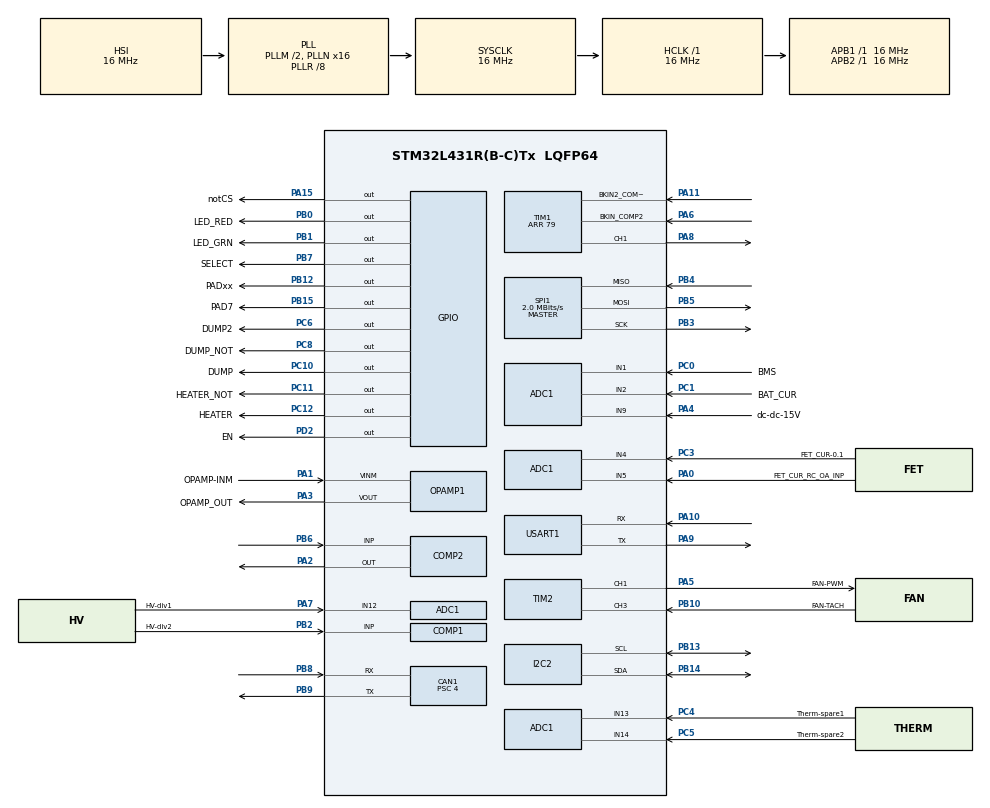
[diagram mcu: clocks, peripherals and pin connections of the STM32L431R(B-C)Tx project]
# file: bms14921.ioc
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ADC1.Channel-0\#ChannelRegularConversion=ADC_CHANNEL_VREFINT
ADC1.Channel-1\#ChannelRegularConversion=ADC_CHANNEL_TEMPSENSOR
ADC1.Channel-10\#ChannelRegularConversion=ADC_CHANNEL_8
ADC1.Channel-11\#ChannelRegularConversion=ADC_CHANNEL_1
ADC1.Channel-2\#ChannelRegularConversion=ADC_CHANNEL_9
ADC1.Channel-3\#ChannelRegularConversion=ADC_CHANNEL_12
ADC1.Channel-4\#ChannelRegularConversion=ADC_CHANNEL_2
ADC1.Channel-5\#ChannelRegularConversion=ADC_CHANNEL_13
ADC1.Channel-6\#ChannelRegularConversion=ADC_CHANNEL_14
ADC1.Channel-7\#ChannelRegularConversion=ADC_CHANNEL_4
ADC1.Channel-8\#ChannelRegularConversion=ADC_CHANNEL_5
ADC1.ContinuousConvMode=DISABLE
ADC1.DMAContinuousRequests=DISABLE
ADC1.EOCSelection=ADC_EOC_SEQ_CONV
ADC1.EnableInjectedConversion=DISABLE
ADC1.NbrOfConversion=11
ADC1.NbrOfConversionFlag=1
ADC1.OffsetNumber-0\#ChannelRegularConversion=ADC_OFFSET_NONE
ADC1.OffsetNumber-1\#ChannelRegularConversion=ADC_OFFSET_NONE
ADC1.OffsetNumber-10\#ChannelRegularConversion=ADC_OFFSET_NONE
ADC1.OffsetNumber-11\#ChannelRegularConversion=ADC_OFFSET_NONE
ADC1.OffsetNumber-2\#ChannelRegularConversion=ADC_OFFSET_NONE
ADC1.OffsetNumber-3\#ChannelRegularConversion=ADC_OFFSET_NONE
ADC1.OffsetNumber-4\#ChannelRegularConversion=ADC_OFFSET_NONE
ADC1.OffsetNumber-5\#ChannelRegularConversion=ADC_OFFSET_NONE
ADC1.OffsetNumber-6\#ChannelRegularConversion=ADC_OFFSET_NONE
ADC1.OffsetNumber-7\#ChannelRegularConversion=ADC_OFFSET_NONE
ADC1.OffsetNumber-8\#ChannelRegularConversion=ADC_OFFSET_NONE
ADC1.OversamplingMode=ENABLE
ADC1.Rank-0\#ChannelRegularConversion=1
ADC1.Rank-1\#ChannelRegularConversion=2
ADC1.Rank-10\#ChannelRegularConversion=10
ADC1.Rank-11\#ChannelRegularConversion=11
ADC1.Rank-2\#ChannelRegularConversion=3
ADC1.Rank-3\#ChannelRegularConversion=4
ADC1.Rank-4\#ChannelRegularConversion=5
ADC1.Rank-5\#ChannelRegularConversion=6
ADC1.Rank-6\#ChannelRegularConversion=7
ADC1.Rank-7\#ChannelRegularConversion=8
ADC1.Rank-8\#ChannelRegularConversion=9
ADC1.Ratio=ADC_OVERSAMPLING_RATIO_16
ADC1.SamplingTime-0\#ChannelRegularConversion=ADC_SAMPLETIME_247CYCLES_5
ADC1.SamplingTime-1\#ChannelRegularConversion=ADC_SAMPLETIME_247CYCLES_5
ADC1.SamplingTime-10\#ChannelRegularConversion=ADC_SAMPLETIME_24CYCLES_5
ADC1.SamplingTime-11\#ChannelRegularConversion=ADC_SAMPLETIME_24CYCLES_5
ADC1.SamplingTime-2\#ChannelRegularConversion=ADC_SAMPLETIME_247CYCLES_5
ADC1.SamplingTime-3\#ChannelRegularConversion=ADC_SAMPLETIME_640CYCLES_5
ADC1.SamplingTime-4\#ChannelRegularConversion=ADC_SAMPLETIME_47CYCLES_5
ADC1.SamplingTime-5\#ChannelRegularConversion=ADC_SAMPLETIME_247CYCLES_5
ADC1.SamplingTime-6\#ChannelRegularConversion=ADC_SAMPLETIME_247CYCLES_5
ADC1.SamplingTime-7\#ChannelRegularConversion=ADC_SAMPLETIME_2CYCLES_5
ADC1.SamplingTime-8\#ChannelRegularConversion=ADC_SAMPLETIME_24CYCLES_5
ADC1.master=1
CAN1.ABOM=ENABLE
CAN1.BS1=CAN_BS1_5TQ
CAN1.BS2=CAN_BS2_2TQ
CAN1.CalculateBaudRate=500000
CAN1.CalculateTimeBit=2000.00
CAN1.CalculateTimeQuantum=250.0
CAN1.Prescaler=4
COMP1.BlankingSrce=COMP_BLANKINGSRC_NONE
COMP2.BlankingSrce=COMP_BLANKINGSRC_NONE
DAC1.DAC_Channel-DAC_OUT2_Int=DAC_CHANNEL_2
Dma.ADC1.2.Direction=DMA_PERIPH_TO_MEMORY
Dma.ADC1.2.Instance=DMA1_Channel1
Dma.ADC1.2.MemDataAlignment=DMA_MDATAALIGN_HALFWORD
Dma.ADC1.2.MemInc=DMA_MINC_ENABLE
Dma.ADC1.2.Mode=DMA_NORMAL
Dma.ADC1.2.PeriphDataAlignment=DMA_PDATAALIGN_HALFWORD
Dma.ADC1.2.PeriphInc=DMA_PINC_DISABLE
Dma.ADC1.2.Priority=DMA_PRIORITY_LOW
Dma.I2C2_RX.3.Direction=DMA_PERIPH_TO_MEMORY
Dma.I2C2_RX.3.Instance=DMA1_Channel5
Dma.I2C2_RX.3.MemDataAlignment=DMA_MDATAALIGN_BYTE
Dma.I2C2_RX.3.MemInc=DMA_MINC_ENABLE
Dma.I2C2_RX.3.Mode=DMA_NORMAL
Dma.I2C2_RX.3.PeriphDataAlignment=DMA_PDATAALIGN_BYTE
Dma.I2C2_RX.3.PeriphInc=DMA_PINC_DISABLE
Dma.I2C2_RX.3.Priority=DMA_PRIORITY_LOW
Dma.I2C2_TX.4.Direction=DMA_MEMORY_TO_PERIPH
Dma.I2C2_TX.4.Instance=DMA1_Channel4
Dma.I2C2_TX.4.MemDataAlignment=DMA_MDATAALIGN_BYTE
Dma.I2C2_TX.4.MemInc=DMA_MINC_ENABLE
Dma.I2C2_TX.4.Mode=DMA_NORMAL
Dma.I2C2_TX.4.PeriphDataAlignment=DMA_PDATAALIGN_BYTE
Dma.I2C2_TX.4.PeriphInc=DMA_PINC_DISABLE
Dma.I2C2_TX.4.Priority=DMA_PRIORITY_LOW
Dma.Request0=USART1_RX
Dma.Request1=USART1_TX
Dma.Request2=ADC1
Dma.Request3=I2C2_RX
Dma.Request4=I2C2_TX
Dma.Request5=SPI1_RX
Dma.Request6=SPI1_TX
Dma.SPI1_RX.5.Direction=DMA_PERIPH_TO_MEMORY
Dma.SPI1_RX.5.Instance=DMA1_Channel2
Dma.SPI1_RX.5.MemDataAlignment=DMA_MDATAALIGN_BYTE
Dma.SPI1_RX.5.MemInc=DMA_MINC_ENABLE
Dma.SPI1_RX.5.Mode=DMA_NORMAL
Dma.SPI1_RX.5.PeriphDataAlignment=DMA_PDATAALIGN_BYTE
Dma.SPI1_RX.5.PeriphInc=DMA_PINC_DISABLE
Dma.SPI1_RX.5.Priority=DMA_PRIORITY_LOW
Dma.SPI1_TX.6.Direction=DMA_MEMORY_TO_PERIPH
Dma.SPI1_TX.6.Instance=DMA1_Channel3
Dma.SPI1_TX.6.MemDataAlignment=DMA_MDATAALIGN_BYTE
Dma.SPI1_TX.6.MemInc=DMA_MINC_ENABLE
Dma.SPI1_TX.6.Mode=DMA_NORMAL
Dma.SPI1_TX.6.PeriphDataAlignment=DMA_PDATAALIGN_BYTE
Dma.SPI1_TX.6.PeriphInc=DMA_PINC_DISABLE
Dma.SPI1_TX.6.Priority=DMA_PRIORITY_LOW
Dma.USART1_RX.0.Direction=DMA_PERIPH_TO_MEMORY
Dma.USART1_RX.0.Instance=DMA2_Channel7
Dma.USART1_RX.0.MemDataAlignment=DMA_MDATAALIGN_BYTE
Dma.USART1_RX.0.MemInc=DMA_MINC_ENABLE
Dma.USART1_RX.0.Mode=DMA_CIRCULAR
Dma.USART1_RX.0.PeriphDataAlignment=DMA_PDATAALIGN_BYTE
Dma.USART1_RX.0.PeriphInc=DMA_PINC_DISABLE
Dma.USART1_RX.0.Priority=DMA_PRIORITY_LOW
Dma.USART1_TX.1.Direction=DMA_MEMORY_TO_PERIPH
Dma.USART1_TX.1.Instance=DMA2_Channel6
Dma.USART1_TX.1.MemDataAlignment=DMA_MDATAALIGN_BYTE
Dma.USART1_TX.1.MemInc=DMA_MINC_ENABLE
Dma.USART1_TX.1.Mode=DMA_NORMAL
Dma.USART1_TX.1.PeriphDataAlignment=DMA_PDATAALIGN_BYTE
Dma.USART1_TX.1.PeriphInc=DMA_PINC_DISABLE
Dma.USART1_TX.1.Priority=DMA_PRIORITY_LOW
FREERTOS.Tasks01=defaultTask,24,448,StartDefaultTask,Default,NULL,Dynamic,NULL,NULL
FREERTOS.configTOTAL_HEAP_SIZE=12288
I2C2.Timing=0x00303D5B
Mcu.Family=STM32L4
Mcu.Name=STM32L431R(B-C)Tx
Mcu.Package=LQFP64
NVIC.ADC1_IRQn=true\:5\:0\:false\:false\:true\:true\:true\:true
NVIC.CAN1_RX0_IRQn=true\:6\:0\:true\:false\:true\:true\:true\:true
NVIC.CAN1_RX1_IRQn=true\:6\:0\:true\:false\:true\:true\:true\:true
NVIC.CAN1_TX_IRQn=true\:6\:0\:true\:false\:true\:true\:true\:true
NVIC.DMA1_Channel1_IRQn=true\:6\:0\:true\:false\:true\:true\:false\:true
NVIC.DMA1_Channel2_IRQn=true\:6\:0\:true\:false\:true\:true\:false\:true
NVIC.DMA1_Channel3_IRQn=true\:6\:0\:true\:false\:true\:true\:false\:true
NVIC.DMA1_Channel4_IRQn=true\:7\:0\:true\:false\:true\:true\:false\:true
NVIC.DMA1_Channel5_IRQn=true\:7\:0\:true\:false\:true\:true\:false\:true
NVIC.DMA2_Channel6_IRQn=true\:6\:0\:true\:false\:true\:false\:false\:true
NVIC.DMA2_Channel7_IRQn=true\:6\:0\:true\:false\:true\:false\:false\:true
NVIC.PriorityGroup=NVIC_PRIORITYGROUP_4
NVIC.TIM1_BRK_TIM15_IRQn=true\:5\:0\:false\:false\:true\:true\:true\:true
NVIC.TIM1_UP_TIM16_IRQn=true\:6\:0\:true\:false\:true\:false\:false\:true
NVIC.TIM2_IRQn=true\:6\:0\:true\:false\:true\:true\:true\:true
NVIC.TIM6_DAC_IRQn=true\:15\:0\:false\:false\:true\:false\:true\:true
NVIC.TimeBase=TIM6_DAC_IRQn
NVIC.TimeBaseIP=TIM6
NVIC.USART1_IRQn=true\:10\:0\:true\:false\:true\:true\:true\:true
OPAMP1.PgaGain=OPAMP_PGA_GAIN_8
OPAMP1.PowerSupplyRange=OPAMP_POWERSUPPLY_HIGH
PA0.GPIO_Label=FET_CUR_RC_OA_INP
PA0.Signal=SharedAnalog_PA0
PA1.GPIO_Label=OPAMP-INM
PA1.Signal=SharedAnalog_PA1
PA10.Mode=Asynchronous
PA10.Signal=USART1_RX
PA11.Mode=ExternalOutput_TIM1BKIN2
PA11.Signal=TIM1_BKIN2_COMP1
PA13\ (JTMS-SWDIO).Mode=Serial_Wire
PA13\ (JTMS-SWDIO).Signal=SYS_JTMS-SWDIO
PA14\ (JTCK-SWCLK).Mode=Serial_Wire
PA14\ (JTCK-SWCLK).Signal=SYS_JTCK-SWCLK
PA15\ (JTDI).GPIO_Label=notCS
PA15\ (JTDI).Signal=GPIO_Output
PA2.Mode=ExternalOutput
PA2.Signal=COMP2_OUT
PA3.GPIO_Label=OPAMP_OUT
PA3.Signal=SharedAnalog_PA3
PA4.GPIO_Label=dc-dc-15V
PA4.Signal=SharedAnalog_PA4
PA5.GPIO_Label=FAN-PWM
PA5.Signal=S_TIM2_CH1
PA6.Mode=ExternalOutput_TIM1BKIN
PA6.Signal=TIM1_BKIN_COMP2
PA7.GPIO_Label=HV-div1
PA7.Signal=SharedAnalog_PA7
PA8.Signal=S_TIM1_CH1
PA9.Mode=Asynchronous
PA9.Signal=USART1_TX
PB0.GPIO_Label=LED_RED
PB0.PinState=GPIO_PIN_SET
PB0.Signal=GPIO_Output
PB1.GPIO_Label=LED_GRN
PB1.PinState=GPIO_PIN_SET
PB1.Signal=GPIO_Output
PB10.GPIO_Label=FAN-TACH
PB10.GPIO_PuPd=GPIO_PULLUP
PB10.Signal=S_TIM2_CH3
PB12.GPIO_Label=PADxx
PB12.Signal=GPIO_Output
PB13.GPIO_Pu=GPIO_NOPULL
PB13.GPIO_Speed=GPIO_SPEED_FREQ_LOW
PB13.Mode=I2C
PB13.Signal=I2C2_SCL
PB14.GPIO_Pu=GPIO_NOPULL
PB14.Mode=I2C
PB14.Signal=I2C2_SDA
PB15.GPIO_Label=PAD7
PB15.Signal=GPIO_Output
PB2.GPIO_Label=HV-div2
PB2.Signal=SharedAnalog_PB2
PB3\ (JTDO-TRACESWO).Mode=Full_Duplex_Master
PB3\ (JTDO-TRACESWO).Signal=SPI1_SCK
PB4\ (NJTRST).Mode=Full_Duplex_Master
PB4\ (NJTRST).Signal=SPI1_MISO
PB5.Mode=Full_Duplex_Master
PB5.Signal=SPI1_MOSI
PB6.Mode=INP
PB6.Signal=COMP2_INP
PB7.GPIO_Label=SELECT
PB7.Signal=GPIO_Output
PB8.Mode=CAN_Activate
PB8.Signal=CAN1_RX
PB9.Mode=CAN_Activate
PB9.Signal=CAN1_TX
PC0.GPIO_Label=BMS
PC0.Signal=SharedAnalog_PC0
PC1.GPIO_Label=BAT_CUR
PC1.Signal=SharedAnalog_PC1
PC10.GPIO_Label=DUMP
PC10.Signal=GPIO_Output
PC11.GPIO_Label=HEATER_NOT
PC11.Signal=GPIO_Output
PC12.GPIO_Label=HEATER
PC12.Signal=GPIO_Output
PC3.GPIO_Label=FET_CUR-0.1
PC3.Signal=SharedAnalog_PC3
PC4.GPIO_Label=Therm-spare1
PC4.Signal=SharedAnalog_PC4
PC5.GPIO_Label=Therm-spare2
PC5.Signal=SharedAnalog_PC5
PC6.GPIO_Label=DUMP2
PC6.GPIO_PuPd=GPIO_PULLDOWN
PC6.Signal=GPIO_Output
PC8.GPIO_Label=DUMP_NOT
PC8.Signal=GPIO_Output
PD2.GPIO_Label=EN
PD2.Signal=GPIO_Output
ProjectManager.HeapSize=0x200
ProjectManager.StackSize=0x400
ProjectManager.TargetToolchain=Makefile
RCC.ADCFreq_Value=52000000
RCC.AHBFreq_Value=16000000
RCC.APB1Freq_Value=16000000
RCC.APB1TimFreq_Value=16000000
RCC.APB2Freq_Value=16000000
RCC.APB2TimFreq_Value=16000000
RCC.CortexFreq_Value=16000000
RCC.HCLKFreq_Value=16000000
RCC.HSE_VALUE=8000000
RCC.HSI48_VALUE=48000000
RCC.HSI_VALUE=16000000
RCC.I2C1CLockSelection=RCC_I2C1CLKSOURCE_SYSCLK
RCC.LSE_VALUE=32768
RCC.MSIClockRange=RCC_MSIRANGE_7
RCC.MSI_VALUE=8000000
RCC.PLLM=2
RCC.PLLN=16
RCC.PLLR=RCC_PLLR_DIV8
RCC.PLLSAI1N=13
RCC.PLLSourceVirtual=RCC_PLLSOURCE_HSI
RCC.SYSCLKFreq_VALUE=16000000
RCC.SYSCLKSource=RCC_SYSCLKSOURCE_PLLCLK
RCC.USART1CLockSelection=RCC_USART1CLKSOURCE_HSI
RCC.VCOOutputFreq_Value=128000000
SH.S_TIM1_CH1.0=TIM1_CH1,PWM Generation1 CH1
SH.S_TIM2_CH1.0=TIM2_CH1,PWM Generation1 CH1
SH.S_TIM2_CH3.0=TIM2_CH3,Input_Capture3_from_TI3
SH.SharedAnalog_PA0.0=GPIO_Analog
SH.SharedAnalog_PA0.1=ADC1_IN5,IN5-Single-Ended
SH.SharedAnalog_PA0.2=OPAMP1_VINP,PGA Connected
SH.SharedAnalog_PA1.0=GPIO_Analog
SH.SharedAnalog_PA1.1=OPAMP1_VINM,PGA Connected
SH.SharedAnalog_PA3.0=GPIO_Analog
SH.SharedAnalog_PA3.1=OPAMP1_VOUT,PGA Connected
SH.SharedAnalog_PA3.2=ADC1_IN8,IN8-Single-Ended
SH.SharedAnalog_PA4.0=GPIO_Analog
SH.SharedAnalog_PA4.1=ADC1_IN9,IN9-Single-Ended
SH.SharedAnalog_PA7.0=GPIO_Analog
SH.SharedAnalog_PA7.1=ADC1_IN12,IN12-Single-Ended
SH.SharedAnalog_PB2.0=GPIO_Analog
SH.SharedAnalog_PB2.1=COMP1_INP,INP
SH.SharedAnalog_PC0.0=GPIO_Analog
SH.SharedAnalog_PC0.1=ADC1_IN1,IN1-Single-Ended
SH.SharedAnalog_PC1.0=GPIO_Analog
SH.SharedAnalog_PC1.1=ADC1_IN2,IN2-Single-Ended
SH.SharedAnalog_PC3.0=GPIO_Analog
SH.SharedAnalog_PC3.1=ADC1_IN4,IN4-Single-Ended
SH.SharedAnalog_PC4.0=GPIO_Analog
SH.SharedAnalog_PC4.1=ADC1_IN13,IN13-Single-Ended
SH.SharedAnalog_PC5.0=GPIO_Analog
SH.SharedAnalog_PC5.1=ADC1_IN14,IN14-Single-Ended
SPI1.BaudRatePrescaler=SPI_BAUDRATEPRESCALER_8
SPI1.CalculateBaudRate=2.0 MBits/s
SPI1.DataSize=SPI_DATASIZE_8BIT
SPI1.Direction=SPI_DIRECTION_2LINES
SPI1.FirstBit=SPI_FIRSTBIT_LSB
SPI1.Mode=SPI_MODE_MASTER
SPI1.NSSPMode=SPI_NSS_PULSE_DISABLE
SPI1.VirtualType=VM_MASTER
TIM1.AutomaticOutput=TIM_AUTOMATICOUTPUT_ENABLE
TIM1.Channel-PWM\ Generation1\ CH1=TIM_CHANNEL_1
TIM1.Period=79
TIM1.SourceBRK2COMP1=TIM_BREAKINPUTSOURCE_ENABLE
TIM1.SourceBRK2COMP2=TIM_BREAKINPUTSOURCE_DISABLE
TIM1.SourceBRKCOMP2=TIM_BREAKINPUTSOURCE_ENABLE
TIM15.Channel-Output\ Compare1\ No\ Output=TIM_CHANNEL_1
TIM2.Channel-Input_Capture3_from_TI3=TIM_CHANNEL_3
TIM2.Channel-PWM\ Generation1\ CH1=TIM_CHANNEL_1
USART1.OverSampling=UART_OVERSAMPLING_8
USART1.VirtualMode-Asynchronous=VM_ASYNC
VP_ADC1_TempSens_Input.Mode=IN-TempSens
VP_ADC1_Vref_Input.Mode=IN-Vrefint
VP_COMP1_VS_DACOUT1.Mode=INM_DACOUT1
VP_COMP2_VS_DACOUT2.Mode=INM_DACOUT2
VP_DAC1_VS_DACI1.Mode=DAC_OUT1_Int
VP_DAC1_VS_DACI2.Mode=DAC_OUT2_Int
VP_FREERTOS_VS_CMSIS_V2.Mode=CMSIS_V2
VP_RTC_VS_RTC_Activate.Mode=RTC_Enabled
VP_RTC_VS_RTC_Calendar.Mode=RTC_Calendar
VP_SYS_VS_tim6.Mode=TIM6
VP_TIM15_VS_ClockSourceINT.Mode=Internal
VP_TIM15_VS_no_output1.Mode=Output Compare1 No Output
VP_TIM1_VS_BKIN2_COMP1.Mode=Activate-Break-Input-2-COMP1
VP_TIM1_VS_BKIN_COMP2.Mode=Activate-Break-Input-COMP2
VP_TIM1_VS_ClockSourceINT.Mode=Internal
VP_TIM2_VS_ClockSourceINT.Mode=Internal
board=custom

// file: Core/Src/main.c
/* USER CODE BEGIN Header */
/**
  ******************************************************************************
  * @file           : main.c
  * @brief          : Main program body
  ******************************************************************************
  * @attention
  *
  * <h2><center>&copy; Copyright (c) 2021 STMicroelectronics.
  * All rights reserved.</center></h2>
  *
  * This software component is licensed by ST under Ultimate Liberty license
  * SLA0044, the "License"; You may not use this file except in compliance with
  * the License. You may obtain a copy of the License at:
  *                             www.st.com/SLA0044
  *
  ******************************************************************************
  */
/* USER CODE END Header */
#include "main.h"
#include "cmsis_os.h"

/* USER CODE BEGIN Includes */
#include <string.h>
#include "morse.h"
#include "DTW_counter.h"
#include "fetonoff.h"

#include "adcparams.h"
#include "SerialTaskSend.h"
#include "SerialTaskReceive.h"
#include "CanTask.h"
#include "can_iface.h"
#include "canfilter_setup.h"
#include "getserialbuf.h"
#include "yprintf.h"
#include "DTW_counter.h"
#include "BQTask.h"
#include "bqview.h"
#include "bqcellbal.h"
#include "ChgrTask.h"
#include "bq_func_init.h"
#include "ADCTask.h"
#include "MailboxTask.h"
#include "CanCommTask.h"
#include "FanTask.h"

#include "FreeRTOS.h"
#include "semphr.h"
/* USER CODE END Includes */

/* USER CODE BEGIN PTD */
uint32_t timectr = 0;
struct CAN_CTLBLOCK* pctl0; // Pointer to CAN1 control block
//struct CAN_CTLBLOCK* pctl1; // Pointer to CAN2 control block

uint32_t adc_smpr1; // Save HAL settings of ADC_SMPR1 ADC register.
uint32_t adc_sqr1;  // Save HAL settings of register.

uint32_t debugTX1b;
uint32_t debugTX1b_prev;

uint32_t debugTX1c;
uint32_t debugTX1c_prev;

uint32_t debug03;
uint32_t debug03_prev;

//extern osThreadId SerialTaskHandle;
//extern osThreadId CanTxTaskHandle;
//extern osThreadId CanRxTaskHandle;
//extern osThreadId SerialTaskReceiveHandle;

uint16_t m_trap = 450; // Trap codes for MX Init() and Error Handler

uint8_t canflag;
uint8_t canflag1;
//uint8_t canflag2;

/* USER CODE END PTD */

/* USER CODE BEGIN PM */
  /*
  Timer usage
                         1    2   3   4   auto  auto
  TIM1 charger control  PWM   x   x   x  comp1 comp2
                        PA8               PA6   PA11
  TIM2 FAN PWM TACH     PWM   x  IC   x
                        PA5     PB10
  TIM7  System          x

  TIM15 SPI/ADC/BMS     OC    x

  */
/* USER CODE END PM */

ADC_HandleTypeDef hadc1;
DMA_HandleTypeDef hdma_adc1;

CAN_HandleTypeDef hcan1;

COMP_HandleTypeDef hcomp1;
COMP_HandleTypeDef hcomp2;

DAC_HandleTypeDef hdac1;

I2C_HandleTypeDef hi2c2;
DMA_HandleTypeDef hdma_i2c2_rx;
DMA_HandleTypeDef hdma_i2c2_tx;

OPAMP_HandleTypeDef hopamp1;

RTC_HandleTypeDef hrtc;

SPI_HandleTypeDef hspi1;
DMA_HandleTypeDef hdma_spi1_rx;
DMA_HandleTypeDef hdma_spi1_tx;

TIM_HandleTypeDef htim1;
TIM_HandleTypeDef htim2;
TIM_HandleTypeDef htim15;

UART_HandleTypeDef huart1;
DMA_HandleTypeDef hdma_usart1_rx;
DMA_HandleTypeDef hdma_usart1_tx;

/* Definitions for defaultTask */
osThreadId_t defaultTaskHandle;
const osThreadAttr_t defaultTask_attributes = {
  .name = "defaultTask",
  .stack_size = 448 * 4,
  .priority = (osPriority_t) osPriorityNormal,
};
/* USER CODE BEGIN PV */
uint16_t errorcode;
/* USER CODE END PV */

void SystemClock_Config(void);
static void MX_GPIO_Init(void);
static void MX_DMA_Init(void);
static void MX_ADC1_Init(void);
static void MX_CAN1_Init(void);
static void MX_RTC_Init(void);
static void MX_TIM2_Init(void);
static void MX_USART1_UART_Init(void);
static void MX_COMP1_Init(void);
static void MX_DAC1_Init(void);
static void MX_TIM1_Init(void);
static void MX_TIM15_Init(void);
static void MX_OPAMP1_Init(void);
static void MX_SPI1_Init(void);
static void MX_I2C2_Init(void);
static void MX_COMP2_Init(void);
void StartDefaultTask(void *argument);

int main(void)
{
  /* USER CODE BEGIN 1 */
  BaseType_t ret;    // Used for returns from function calls
  osThreadId Thrdret;  // Return from thread create
  /* USER CODE END 1 */

  /* MCU Configuration--------------------------------------------------------*/

  /* Reset of all peripherals, Initializes the Flash interface and the Systick. */
  HAL_Init();

  /* USER CODE BEGIN Init */
  DTW_counter_init();
  /* USER CODE END Init */

  /* Configure the system clock */
  SystemClock_Config();

  /* USER CODE BEGIN SysInit */
#define NUMCIRBCB1  16 // Size of circular buffer of BCB for usart3
  ret = xSerialTaskSendAdd(&HUARTMON, NUMCIRBCB1, 1); // dma
  if (ret < 0) morse_trap(111); // Panic LED flashing
  /* USER CODE END SysInit */

  /* Initialize all configured peripherals */
  MX_GPIO_Init();
  MX_DMA_Init();
  MX_ADC1_Init();
  MX_CAN1_Init();
  MX_RTC_Init();
  MX_TIM2_Init();
  MX_USART1_UART_Init();
  MX_COMP1_Init();
  MX_DAC1_Init();
  MX_TIM1_Init();
  MX_TIM15_Init();
  MX_OPAMP1_Init();
  MX_SPI1_Init();
  MX_I2C2_Init();
  MX_COMP2_Init();

  /* Init scheduler */
  osKernelInitialize();

  /* USER CODE BEGIN RTOS_SEMAPHORES */
  /* add semaphores, ... */
  /* Setup semaphore for yprint and sprintf et al. */
  yprintf_init();
  /* USER CODE END RTOS_SEMAPHORES */

  /* Create the thread(s) */
  /* creation of defaultTask */
  defaultTaskHandle = osThreadNew(StartDefaultTask, NULL, &defaultTask_attributes);

  /* USER CODE BEGIN RTOS_THREADS */
  /* add threads, ... */

  Thrdret = xADCTaskCreate(osPriorityNormal+2); // (arg) = priority
  if (Thrdret == NULL) morse_trap(117);
  // Save HAL initialized settings ADC registers.
  // Used in adcbms.c for BMS readout sequence swapping
  adc_smpr1 = hadc1.Instance->SMPR1;
  adc_sqr1  = hadc1.Instance->SQR1;

  /* Create serial task (priority) */
  // Task handle "osThreadId SerialTaskHandle" is global
  Thrdret = xSerialTaskSendCreate(osPriorityNormal); // Create task and set Task priority
  if (Thrdret == NULL) morse_trap(112);

    /* Add bcb circular buffer to SerialTaskSend for usart3 -- PC monitor */
  #define NUMCIRBCB3  16 // Size of circular buffer of BCB for usart3
  ret = xSerialTaskSendAdd(&HUARTMON, NUMCIRBCB3, 1); // dma
  if (ret < 0) morse_trap(14); // Panic LED flashing

  /* Setup TX linked list for CAN  */
   // CAN1 (CAN_HandleTypeDef *phcan, uint8_t canidx, uint16_t numtx, uint16_t numrx);
  pctl0 = can_iface_init(&hcan1, 0, 64, 32);
  if (pctl0 == NULL) morse_trap(118); // Panic LED flashing
  if (pctl0->ret < 0) morse_trap(119);

  /* Create serial receiving task. */
  //ret = xSerialTaskReceiveCreate(osPriorityNormal);
  //if (ret != pdPASS) morse_trap(113);

  /* BQTask. */
  TaskHandle_t retT = xBQTaskCreate(osPriorityNormal);
  if (retT == NULL) morse_trap(114);

  /* USER CODE END RTOS_THREADS */

  /* USER CODE BEGIN RTOS_EVENTS */
  /* add events, ... */
  // Initialize struct for BQ. */
  bq_func_init(&bqfunction);

  /* definition and creation of CanTxTask - CAN driver TX interface. */
  QueueHandle_t QHret = xCanTxTaskCreate(osPriorityNormal, 48); // CanTask priority, Number of msgs in queue
  if (QHret == NULL) morse_trap(120); // Panic LED flashing

  /* definition and creation of CanRxTask - CAN driver RX interface. */
  /* The MailboxTask takes care of the CANRx                         */
//  Qidret = xCanRxTaskCreate(1, 32); // CanTask priority, Number of msgs in queue
//  if (Qidret < 0) morse_trap(6); // Panic LED flashing

  /* Create MailboxTask */
  xMailboxTaskCreate(osPriorityNormal); // (arg) = priority

  /* Create Mailbox control block w 'take' pointer for each CAN module. */
  struct MAILBOXCANNUM* pmbxret;
  // (CAN1 control block pointer, size of circular buffer)
  pmbxret = MailboxTask_add_CANlist(pctl0, 32);
  if (pmbxret == NULL) morse_trap(215);

  /* Setup CAN hardware filters to default to accept all ids. */
  HAL_StatusTypeDef Cret;
  Cret = canfilter_setup_first(0, &hcan1, 15); // CAN1
  if (Cret == HAL_ERROR) morse_trap(122);

  /* CAN communication */
  retT = xCanCommCreate(osPriorityNormal+1);
  if (retT == NULL) morse_trap(121);

    /* Select interrupts for CAN1 */
  HAL_CAN_ActivateNotification(&hcan1, \
    CAN_IT_TX_MAILBOX_EMPTY     |  \
    CAN_IT_RX_FIFO0_MSG_PENDING |  \
    CAN_IT_RX_FIFO1_MSG_PENDING    );

  /* Fan control task. */
  retT = xFanTaskCreate(osPriorityNormal);
  if (retT == NULL) morse_trap(124);

  /* USER CODE END RTOS_EVENTS */

  /* Start scheduler */
  osKernelStart();

  /* We should never get here as control is now taken by the scheduler */
  /* Infinite loop */
  while (1)
  {

  }
}

void SystemClock_Config(void)
{
  RCC_OscInitTypeDef RCC_OscInitStruct = {0};
  RCC_ClkInitTypeDef RCC_ClkInitStruct = {0};

  /** Configure the main internal regulator output voltage
  */
  if (HAL_PWREx_ControlVoltageScaling(PWR_REGULATOR_VOLTAGE_SCALE1) != HAL_OK)
  {
    Error_Handler();
  }
  /** Initializes the RCC Oscillators according to the specified parameters
  * in the RCC_OscInitTypeDef structure.
  */
  RCC_OscInitStruct.OscillatorType = RCC_OSCILLATORTYPE_HSI|RCC_OSCILLATORTYPE_LSI;
  RCC_OscInitStruct.HSIState = RCC_HSI_ON;
  RCC_OscInitStruct.HSICalibrationValue = RCC_HSICALIBRATION_DEFAULT;
  RCC_OscInitStruct.LSIState = RCC_LSI_ON;
  RCC_OscInitStruct.PLL.PLLState = RCC_PLL_ON;
  RCC_OscInitStruct.PLL.PLLSource = RCC_PLLSOURCE_HSI;
  RCC_OscInitStruct.PLL.PLLM = 2;
  RCC_OscInitStruct.PLL.PLLN = 16;
  RCC_OscInitStruct.PLL.PLLP = RCC_PLLP_DIV7;
  RCC_OscInitStruct.PLL.PLLQ = RCC_PLLQ_DIV2;
  RCC_OscInitStruct.PLL.PLLR = RCC_PLLR_DIV8;
  if (HAL_RCC_OscConfig(&RCC_OscInitStruct) != HAL_OK)
  {
    Error_Handler();
  }
  /** Initializes the CPU, AHB and APB buses clocks
  */
  RCC_ClkInitStruct.ClockType = RCC_CLOCKTYPE_HCLK|RCC_CLOCKTYPE_SYSCLK
                              |RCC_CLOCKTYPE_PCLK1|RCC_CLOCKTYPE_PCLK2;
  RCC_ClkInitStruct.SYSCLKSource = RCC_SYSCLKSOURCE_PLLCLK;
  RCC_ClkInitStruct.AHBCLKDivider = RCC_SYSCLK_DIV1;
  RCC_ClkInitStruct.APB1CLKDivider = RCC_HCLK_DIV1;
  RCC_ClkInitStruct.APB2CLKDivider = RCC_HCLK_DIV1;

  if (HAL_RCC_ClockConfig(&RCC_ClkInitStruct, FLASH_LATENCY_0) != HAL_OK)
  {
    Error_Handler();
  }
}

static void MX_ADC1_Init(void)
{

  ADC_ChannelConfTypeDef sConfig = {0};

  /** Common config
  */
  hadc1.Instance = ADC1;
  hadc1.Init.ClockPrescaler = ADC_CLOCK_ASYNC_DIV1;
  hadc1.Init.Resolution = ADC_RESOLUTION_12B;
  hadc1.Init.DataAlign = ADC_DATAALIGN_RIGHT;
  hadc1.Init.ScanConvMode = ADC_SCAN_ENABLE;
  hadc1.Init.EOCSelection = ADC_EOC_SEQ_CONV;
  hadc1.Init.LowPowerAutoWait = DISABLE;
  hadc1.Init.ContinuousConvMode = DISABLE;
  hadc1.Init.NbrOfConversion = 11;
  hadc1.Init.DiscontinuousConvMode = DISABLE;
  hadc1.Init.ExternalTrigConv = ADC_SOFTWARE_START;
  hadc1.Init.ExternalTrigConvEdge = ADC_EXTERNALTRIGCONVEDGE_NONE;
  hadc1.Init.DMAContinuousRequests = DISABLE;
  hadc1.Init.Overrun = ADC_OVR_DATA_PRESERVED;
  hadc1.Init.OversamplingMode = ENABLE;
  hadc1.Init.Oversampling.Ratio = ADC_OVERSAMPLING_RATIO_16;
  hadc1.Init.Oversampling.RightBitShift = ADC_RIGHTBITSHIFT_NONE;
  hadc1.Init.Oversampling.TriggeredMode = ADC_TRIGGEREDMODE_SINGLE_TRIGGER;
  hadc1.Init.Oversampling.OversamplingStopReset = ADC_REGOVERSAMPLING_CONTINUED_MODE;
  if (HAL_ADC_Init(&hadc1) != HAL_OK)
  {
    Error_Handler();
  }
  /** Configure Regular Channel
  */
  sConfig.Channel = ADC_CHANNEL_VREFINT;
  sConfig.Rank = ADC_REGULAR_RANK_1;
  sConfig.SamplingTime = ADC_SAMPLETIME_247CYCLES_5;
  sConfig.SingleDiff = ADC_SINGLE_ENDED;
  sConfig.OffsetNumber = ADC_OFFSET_NONE;
  sConfig.Offset = 0;
  if (HAL_ADC_ConfigChannel(&hadc1, &sConfig) != HAL_OK)
  {
    Error_Handler();
  }
  /** Configure Regular Channel
  */
  sConfig.Channel = ADC_CHANNEL_TEMPSENSOR;
  sConfig.Rank = ADC_REGULAR_RANK_2;
  if (HAL_ADC_ConfigChannel(&hadc1, &sConfig) != HAL_OK)
  {
    Error_Handler();
  }
  /** Configure Regular Channel
  */
  sConfig.Channel = ADC_CHANNEL_9;
  sConfig.Rank = ADC_REGULAR_RANK_3;
  if (HAL_ADC_ConfigChannel(&hadc1, &sConfig) != HAL_OK)
  {
    Error_Handler();
  }
  /** Configure Regular Channel
  */
  sConfig.Channel = ADC_CHANNEL_12;
  sConfig.Rank = ADC_REGULAR_RANK_4;
  sConfig.SamplingTime = ADC_SAMPLETIME_640CYCLES_5;
  if (HAL_ADC_ConfigChannel(&hadc1, &sConfig) != HAL_OK)
  {
    Error_Handler();
  }
  /** Configure Regular Channel
  */
  sConfig.Channel = ADC_CHANNEL_2;
  sConfig.Rank = ADC_REGULAR_RANK_5;
  sConfig.SamplingTime = ADC_SAMPLETIME_47CYCLES_5;
  if (HAL_ADC_ConfigChannel(&hadc1, &sConfig) != HAL_OK)
  {
    Error_Handler();
  }
  /** Configure Regular Channel
  */
  sConfig.Channel = ADC_CHANNEL_13;
  sConfig.Rank = ADC_REGULAR_RANK_6;
  sConfig.SamplingTime = ADC_SAMPLETIME_247CYCLES_5;
  if (HAL_ADC_ConfigChannel(&hadc1, &sConfig) != HAL_OK)
  {
    Error_Handler();
  }
  /** Configure Regular Channel
  */
  sConfig.Channel = ADC_CHANNEL_14;
  sConfig.Rank = ADC_REGULAR_RANK_7;
  if (HAL_ADC_ConfigChannel(&hadc1, &sConfig) != HAL_OK)
  {
    Error_Handler();
  }
  /** Configure Regular Channel
  */
  sConfig.Channel = ADC_CHANNEL_4;
  sConfig.Rank = ADC_REGULAR_RANK_8;
  sConfig.SamplingTime = ADC_SAMPLETIME_2CYCLES_5;
  if (HAL_ADC_ConfigChannel(&hadc1, &sConfig) != HAL_OK)
  {
    Error_Handler();
  }
  /** Configure Regular Channel
  */
  sConfig.Channel = ADC_CHANNEL_5;
  sConfig.Rank = ADC_REGULAR_RANK_9;
  sConfig.SamplingTime = ADC_SAMPLETIME_24CYCLES_5;
  if (HAL_ADC_ConfigChannel(&hadc1, &sConfig) != HAL_OK)
  {
    Error_Handler();
  }
  /** Configure Regular Channel
  */
  sConfig.Channel = ADC_CHANNEL_8;
  sConfig.Rank = ADC_REGULAR_RANK_10;
  if (HAL_ADC_ConfigChannel(&hadc1, &sConfig) != HAL_OK)
  {
    Error_Handler();
  }
  /** Configure Regular Channel
  */
  sConfig.Channel = ADC_CHANNEL_1;
  sConfig.Rank = ADC_REGULAR_RANK_11;
  if (HAL_ADC_ConfigChannel(&hadc1, &sConfig) != HAL_OK)
  {
    Error_Handler();
  }

}

static void MX_CAN1_Init(void)
{

  hcan1.Instance = CAN1;
  hcan1.Init.Prescaler = 4;
  hcan1.Init.Mode = CAN_MODE_NORMAL;
  hcan1.Init.SyncJumpWidth = CAN_SJW_1TQ;
  hcan1.Init.TimeSeg1 = CAN_BS1_5TQ;
  hcan1.Init.TimeSeg2 = CAN_BS2_2TQ;
  hcan1.Init.TimeTriggeredMode = DISABLE;
  hcan1.Init.AutoBusOff = ENABLE;
  hcan1.Init.AutoWakeUp = DISABLE;
  hcan1.Init.AutoRetransmission = DISABLE;
  hcan1.Init.ReceiveFifoLocked = DISABLE;
  hcan1.Init.TransmitFifoPriority = DISABLE;
  if (HAL_CAN_Init(&hcan1) != HAL_OK)
  {
    Error_Handler();
  }

}

static void MX_COMP1_Init(void)
{

  /* USER CODE BEGIN COMP1_Init 0 */
  errorcode = 998; // Error_Handler morse_trap code

  /* USER CODE END COMP1_Init 0 */

  hcomp1.Instance = COMP1;
  hcomp1.Init.InvertingInput = COMP_INPUT_MINUS_DAC1_CH1;
  hcomp1.Init.NonInvertingInput = COMP_INPUT_PLUS_IO2;
  hcomp1.Init.OutputPol = COMP_OUTPUTPOL_NONINVERTED;
  hcomp1.Init.Hysteresis = COMP_HYSTERESIS_NONE;
  hcomp1.Init.BlankingSrce = COMP_BLANKINGSRC_NONE;
  hcomp1.Init.Mode = COMP_POWERMODE_HIGHSPEED;
  hcomp1.Init.WindowMode = COMP_WINDOWMODE_DISABLE;
  hcomp1.Init.TriggerMode = COMP_TRIGGERMODE_NONE;
  if (HAL_COMP_Init(&hcomp1) != HAL_OK)
  {
    Error_Handler();
  }

}

static void MX_COMP2_Init(void)
{

  /* USER CODE BEGIN COMP2_Init 0 */
  errorcode = 997; // Error_Handler morse_trap code

  /* USER CODE END COMP2_Init 0 */

  hcomp2.Instance = COMP2;
  hcomp2.Init.InvertingInput = COMP_INPUT_MINUS_DAC1_CH2;
  hcomp2.Init.NonInvertingInput = COMP_INPUT_PLUS_IO2;
  hcomp2.Init.OutputPol = COMP_OUTPUTPOL_NONINVERTED;
  hcomp2.Init.Hysteresis = COMP_HYSTERESIS_NONE;
  hcomp2.Init.BlankingSrce = COMP_BLANKINGSRC_NONE;
  hcomp2.Init.Mode = COMP_POWERMODE_HIGHSPEED;
  hcomp2.Init.WindowMode = COMP_WINDOWMODE_DISABLE;
  hcomp2.Init.TriggerMode = COMP_TRIGGERMODE_NONE;
  if (HAL_COMP_Init(&hcomp2) != HAL_OK)
  {
    Error_Handler();
  }

}

static void MX_DAC1_Init(void)
{

  DAC_ChannelConfTypeDef sConfig = {0};

  /** DAC Initialization
  */
  hdac1.Instance = DAC1;
  if (HAL_DAC_Init(&hdac1) != HAL_OK)
  {
    Error_Handler();
  }
  /** DAC channel OUT1 config
  */
  sConfig.DAC_SampleAndHold = DAC_SAMPLEANDHOLD_DISABLE;
  sConfig.DAC_Trigger = DAC_TRIGGER_NONE;
  sConfig.DAC_OutputBuffer = DAC_OUTPUTBUFFER_DISABLE;
  sConfig.DAC_ConnectOnChipPeripheral = DAC_CHIPCONNECT_ENABLE;
  sConfig.DAC_UserTrimming = DAC_TRIMMING_FACTORY;
  if (HAL_DAC_ConfigChannel(&hdac1, &sConfig, DAC_CHANNEL_1) != HAL_OK)
  {
    Error_Handler();
  }
  /** DAC channel OUT2 config
  */
  if (HAL_DAC_ConfigChannel(&hdac1, &sConfig, DAC_CHANNEL_2) != HAL_OK)
  {
    Error_Handler();
  }

}

static void MX_I2C2_Init(void)
{

  hi2c2.Instance = I2C2;
  hi2c2.Init.Timing = 0x00303D5B;
  hi2c2.Init.OwnAddress1 = 0;
  hi2c2.Init.AddressingMode = I2C_ADDRESSINGMODE_7BIT;
  hi2c2.Init.DualAddressMode = I2C_DUALADDRESS_DISABLE;
  hi2c2.Init.OwnAddress2 = 0;
  hi2c2.Init.OwnAddress2Masks = I2C_OA2_NOMASK;
  hi2c2.Init.GeneralCallMode = I2C_GENERALCALL_DISABLE;
  hi2c2.Init.NoStretchMode = I2C_NOSTRETCH_DISABLE;
  if (HAL_I2C_Init(&hi2c2) != HAL_OK)
  {
    Error_Handler();
  }
  /** Configure Analogue filter
  */
  if (HAL_I2CEx_ConfigAnalogFilter(&hi2c2, I2C_ANALOGFILTER_ENABLE) != HAL_OK)
  {
    Error_Handler();
  }
  /** Configure Digital filter
  */
  if (HAL_I2CEx_ConfigDigitalFilter(&hi2c2, 0) != HAL_OK)
  {
    Error_Handler();
  }

}

static void MX_OPAMP1_Init(void)
{

  hopamp1.Instance = OPAMP1;
  hopamp1.Init.PowerSupplyRange = OPAMP_POWERSUPPLY_HIGH;
  hopamp1.Init.Mode = OPAMP_PGA_MODE;
  hopamp1.Init.NonInvertingInput = OPAMP_NONINVERTINGINPUT_IO0;
  hopamp1.Init.InvertingInput = OPAMP_INVERTINGINPUT_IO0;
  hopamp1.Init.PgaGain = OPAMP_PGA_GAIN_8;
  hopamp1.Init.PowerMode = OPAMP_POWERMODE_NORMALPOWER;
  hopamp1.Init.UserTrimming = OPAMP_TRIMMING_FACTORY;
  if (HAL_OPAMP_Init(&hopamp1) != HAL_OK)
  {
    Error_Handler();
  }

}

static void MX_RTC_Init(void)
{

  RTC_TimeTypeDef sTime = {0};
  RTC_DateTypeDef sDate = {0};

  /** Initialize RTC Only
  */
  hrtc.Instance = RTC;
  hrtc.Init.HourFormat = RTC_HOURFORMAT_24;
  hrtc.Init.AsynchPrediv = 127;
  hrtc.Init.SynchPrediv = 255;
  hrtc.Init.OutPut = RTC_OUTPUT_DISABLE;
  hrtc.Init.OutPutRemap = RTC_OUTPUT_REMAP_NONE;
  hrtc.Init.OutPutPolarity = RTC_OUTPUT_POLARITY_HIGH;
  hrtc.Init.OutPutType = RTC_OUTPUT_TYPE_OPENDRAIN;
  if (HAL_RTC_Init(&hrtc) != HAL_OK)
  {
    Error_Handler();
  }

  /** Initialize RTC and set the Time and Date
  */
  sTime.Hours = 0x0;
  sTime.Minutes = 0x0;
  sTime.Seconds = 0x0;
  sTime.DayLightSaving = RTC_DAYLIGHTSAVING_NONE;
  sTime.StoreOperation = RTC_STOREOPERATION_RESET;
  if (HAL_RTC_SetTime(&hrtc, &sTime, RTC_FORMAT_BCD) != HAL_OK)
  {
    Error_Handler();
  }
  sDate.WeekDay = RTC_WEEKDAY_MONDAY;
  sDate.Month = RTC_MONTH_JANUARY;
  sDate.Date = 0x1;
  sDate.Year = 0x0;

  if (HAL_RTC_SetDate(&hrtc, &sDate, RTC_FORMAT_BCD) != HAL_OK)
  {
    Error_Handler();
  }

}

static void MX_SPI1_Init(void)
{

  /* SPI1 parameter configuration*/
  hspi1.Instance = SPI1;
  hspi1.Init.Mode = SPI_MODE_MASTER;
  hspi1.Init.Direction = SPI_DIRECTION_2LINES;
  hspi1.Init.DataSize = SPI_DATASIZE_8BIT;
  hspi1.Init.CLKPolarity = SPI_POLARITY_LOW;
  hspi1.Init.CLKPhase = SPI_PHASE_1EDGE;
  hspi1.Init.NSS = SPI_NSS_SOFT;
  hspi1.Init.BaudRatePrescaler = SPI_BAUDRATEPRESCALER_8;
  hspi1.Init.FirstBit = SPI_FIRSTBIT_LSB;
  hspi1.Init.TIMode = SPI_TIMODE_DISABLE;
  hspi1.Init.CRCCalculation = SPI_CRCCALCULATION_DISABLE;
  hspi1.Init.CRCPolynomial = 7;
  hspi1.Init.CRCLength = SPI_CRC_LENGTH_DATASIZE;
  hspi1.Init.NSSPMode = SPI_NSS_PULSE_DISABLE;
  if (HAL_SPI_Init(&hspi1) != HAL_OK)
  {
    Error_Handler();
  }

}

static void MX_TIM1_Init(void)
{

  /* USER CODE BEGIN TIM1_Init 0 */
  errorcode = 991; // Error_Handler morse_trap code
  /* USER CODE END TIM1_Init 0 */

  TIM_ClockConfigTypeDef sClockSourceConfig = {0};
  TIM_MasterConfigTypeDef sMasterConfig = {0};
  TIMEx_BreakInputConfigTypeDef sBreakInputConfig = {0};
  TIM_OC_InitTypeDef sConfigOC = {0};
  TIM_BreakDeadTimeConfigTypeDef sBreakDeadTimeConfig = {0};

  /* USER CODE BEGIN TIM1_Init 1 */
  errorcode = 992; // Error_Handler morse_trap code

  /* USER CODE END TIM1_Init 1 */
  htim1.Instance = TIM1;
  htim1.Init.Prescaler = 0;
  htim1.Init.CounterMode = TIM_COUNTERMODE_UP;
  htim1.Init.Period = 79;
  htim1.Init.ClockDivision = TIM_CLOCKDIVISION_DIV1;
  htim1.Init.RepetitionCounter = 0;
  htim1.Init.AutoReloadPreload = TIM_AUTORELOAD_PRELOAD_DISABLE;
  if (HAL_TIM_Base_Init(&htim1) != HAL_OK)
  {
    Error_Handler();
  }
  sClockSourceConfig.ClockSource = TIM_CLOCKSOURCE_INTERNAL;
  if (HAL_TIM_ConfigClockSource(&htim1, &sClockSourceConfig) != HAL_OK)
  {
    Error_Handler();
  }
  if (HAL_TIM_PWM_Init(&htim1) != HAL_OK)
  {
    Error_Handler();
  }
  sMasterConfig.MasterOutputTrigger = TIM_TRGO_RESET;
  sMasterConfig.MasterOutputTrigger2 = TIM_TRGO2_RESET;
  sMasterConfig.MasterSlaveMode = TIM_MASTERSLAVEMODE_DISABLE;
  if (HAL_TIMEx_MasterConfigSynchronization(&htim1, &sMasterConfig) != HAL_OK)
  {
    Error_Handler();
  }
  sBreakInputConfig.Source = TIM_BREAKINPUTSOURCE_BKIN;
  sBreakInputConfig.Enable = TIM_BREAKINPUTSOURCE_ENABLE;
  sBreakInputConfig.Polarity = TIM_BREAKINPUTSOURCE_POLARITY_HIGH;
  if (HAL_TIMEx_ConfigBreakInput(&htim1, TIM_BREAKINPUT_BRK, &sBreakInputConfig) != HAL_OK)
  {
    Error_Handler();
  }
  sBreakInputConfig.Source = TIM_BREAKINPUTSOURCE_COMP2;
  if (HAL_TIMEx_ConfigBreakInput(&htim1, TIM_BREAKINPUT_BRK, &sBreakInputConfig) != HAL_OK)
  {
    Error_Handler();
  }
  sBreakInputConfig.Source = TIM_BREAKINPUTSOURCE_BKIN;
  if (HAL_TIMEx_ConfigBreakInput(&htim1, TIM_BREAKINPUT_BRK2, &sBreakInputConfig) != HAL_OK)
  {
    Error_Handler();
  }
  sBreakInputConfig.Source = TIM_BREAKINPUTSOURCE_COMP1;
  if (HAL_TIMEx_ConfigBreakInput(&htim1, TIM_BREAKINPUT_BRK2, &sBreakInputConfig) != HAL_OK)
  {
    Error_Handler();
  }
  sConfigOC.OCMode = TIM_OCMODE_PWM1;
  sConfigOC.Pulse = 0;
  sConfigOC.OCPolarity = TIM_OCPOLARITY_HIGH;
  sConfigOC.OCNPolarity = TIM_OCNPOLARITY_HIGH;
  sConfigOC.OCFastMode = TIM_OCFAST_DISABLE;
  sConfigOC.OCIdleState = TIM_OCIDLESTATE_RESET;
  sConfigOC.OCNIdleState = TIM_OCNIDLESTATE_RESET;
  if (HAL_TIM_PWM_ConfigChannel(&htim1, &sConfigOC, TIM_CHANNEL_1) != HAL_OK)
  {
    Error_Handler();
  }
  sBreakDeadTimeConfig.OffStateRunMode = TIM_OSSR_ENABLE;
  sBreakDeadTimeConfig.OffStateIDLEMode = TIM_OSSI_ENABLE;
  sBreakDeadTimeConfig.LockLevel = TIM_LOCKLEVEL_OFF;
  sBreakDeadTimeConfig.DeadTime = 0;
  sBreakDeadTimeConfig.BreakState = TIM_BREAK_ENABLE;
  sBreakDeadTimeConfig.BreakPolarity = TIM_BREAKPOLARITY_HIGH;
  sBreakDeadTimeConfig.BreakFilter = 0;
  sBreakDeadTimeConfig.Break2State = TIM_BREAK2_ENABLE;
  sBreakDeadTimeConfig.Break2Polarity = TIM_BREAK2POLARITY_HIGH;
  sBreakDeadTimeConfig.Break2Filter = 0;
  sBreakDeadTimeConfig.AutomaticOutput = TIM_AUTOMATICOUTPUT_ENABLE;
  if (HAL_TIMEx_ConfigBreakDeadTime(&htim1, &sBreakDeadTimeConfig) != HAL_OK)
  {
    Error_Handler();
  }
  HAL_TIM_MspPostInit(&htim1);

}

static void MX_TIM2_Init(void)
{

  /* USER CODE BEGIN TIM2_Init 0 */
  errorcode = 993; // Error_Handler morse_trap code
  /* USER CODE END TIM2_Init 0 */

  TIM_ClockConfigTypeDef sClockSourceConfig = {0};
  TIM_MasterConfigTypeDef sMasterConfig = {0};
  TIM_OC_InitTypeDef sConfigOC = {0};
  TIM_IC_InitTypeDef sConfigIC = {0};

  htim2.Instance = TIM2;
  htim2.Init.Prescaler = 0;
  htim2.Init.CounterMode = TIM_COUNTERMODE_UP;
  htim2.Init.Period = 4294967295;
  htim2.Init.ClockDivision = TIM_CLOCKDIVISION_DIV1;
  htim2.Init.AutoReloadPreload = TIM_AUTORELOAD_PRELOAD_DISABLE;
  if (HAL_TIM_Base_Init(&htim2) != HAL_OK)
  {
    Error_Handler();
  }
  sClockSourceConfig.ClockSource = TIM_CLOCKSOURCE_INTERNAL;
  if (HAL_TIM_ConfigClockSource(&htim2, &sClockSourceConfig) != HAL_OK)
  {
    Error_Handler();
  }
  if (HAL_TIM_PWM_Init(&htim2) != HAL_OK)
  {
    Error_Handler();
  }
  if (HAL_TIM_IC_Init(&htim2) != HAL_OK)
  {
    Error_Handler();
  }
  sMasterConfig.MasterOutputTrigger = TIM_TRGO_RESET;
  sMasterConfig.MasterSlaveMode = TIM_MASTERSLAVEMODE_DISABLE;
  if (HAL_TIMEx_MasterConfigSynchronization(&htim2, &sMasterConfig) != HAL_OK)
  {
    Error_Handler();
  }
  sConfigOC.OCMode = TIM_OCMODE_PWM1;
  sConfigOC.Pulse = 0;
  sConfigOC.OCPolarity = TIM_OCPOLARITY_HIGH;
  sConfigOC.OCFastMode = TIM_OCFAST_DISABLE;
  if (HAL_TIM_PWM_ConfigChannel(&htim2, &sConfigOC, TIM_CHANNEL_1) != HAL_OK)
  {
    Error_Handler();
  }
  sConfigIC.ICPolarity = TIM_INPUTCHANNELPOLARITY_RISING;
  sConfigIC.ICSelection = TIM_ICSELECTION_DIRECTTI;
  sConfigIC.ICPrescaler = TIM_ICPSC_DIV1;
  sConfigIC.ICFilter = 0;
  if (HAL_TIM_IC_ConfigChannel(&htim2, &sConfigIC, TIM_CHANNEL_3) != HAL_OK)
  {
    Error_Handler();
  }
  /* USER CODE BEGIN TIM2_Init 2 */
  errorcode = 994; // Error_Handler morse_trap code

  /* USER CODE END TIM2_Init 2 */
  HAL_TIM_MspPostInit(&htim2);

}

static void MX_TIM15_Init(void)
{

  /* USER CODE BEGIN TIM15_Init 0 */
  errorcode = 995; // Error_Handler morse_trap code

  /* USER CODE END TIM15_Init 0 */

  TIM_ClockConfigTypeDef sClockSourceConfig = {0};
  TIM_MasterConfigTypeDef sMasterConfig = {0};
  TIM_OC_InitTypeDef sConfigOC = {0};
  TIM_BreakDeadTimeConfigTypeDef sBreakDeadTimeConfig = {0};

  htim15.Instance = TIM15;
  htim15.Init.Prescaler = 0;
  htim15.Init.CounterMode = TIM_COUNTERMODE_UP;
  htim15.Init.Period = 65535;
  htim15.Init.ClockDivision = TIM_CLOCKDIVISION_DIV1;
  htim15.Init.RepetitionCounter = 0;
  htim15.Init.AutoReloadPreload = TIM_AUTORELOAD_PRELOAD_DISABLE;
  if (HAL_TIM_Base_Init(&htim15) != HAL_OK)
  {
    Error_Handler();
  }
  sClockSourceConfig.ClockSource = TIM_CLOCKSOURCE_INTERNAL;
  if (HAL_TIM_ConfigClockSource(&htim15, &sClockSourceConfig) != HAL_OK)
  {
    Error_Handler();
  }
  if (HAL_TIM_OC_Init(&htim15) != HAL_OK)
  {
    Error_Handler();
  }
  sMasterConfig.MasterOutputTrigger = TIM_TRGO_RESET;
  sMasterConfig.MasterSlaveMode = TIM_MASTERSLAVEMODE_DISABLE;
  if (HAL_TIMEx_MasterConfigSynchronization(&htim15, &sMasterConfig) != HAL_OK)
  {
    Error_Handler();
  }
  sConfigOC.OCMode = TIM_OCMODE_TIMING;
  sConfigOC.Pulse = 0;
  sConfigOC.OCPolarity = TIM_OCPOLARITY_HIGH;
  sConfigOC.OCNPolarity = TIM_OCNPOLARITY_HIGH;
  sConfigOC.OCFastMode = TIM_OCFAST_DISABLE;
  sConfigOC.OCIdleState = TIM_OCIDLESTATE_RESET;
  sConfigOC.OCNIdleState = TIM_OCNIDLESTATE_RESET;
  if (HAL_TIM_OC_ConfigChannel(&htim15, &sConfigOC, TIM_CHANNEL_1) != HAL_OK)
  {
    Error_Handler();
  }
  sBreakDeadTimeConfig.OffStateRunMode = TIM_OSSR_DISABLE;
  sBreakDeadTimeConfig.OffStateIDLEMode = TIM_OSSI_DISABLE;
  sBreakDeadTimeConfig.LockLevel = TIM_LOCKLEVEL_OFF;
  sBreakDeadTimeConfig.DeadTime = 0;
  sBreakDeadTimeConfig.BreakState = TIM_BREAK_DISABLE;
  sBreakDeadTimeConfig.BreakPolarity = TIM_BREAKPOLARITY_HIGH;
  sBreakDeadTimeConfig.AutomaticOutput = TIM_AUTOMATICOUTPUT_DISABLE;
  if (HAL_TIMEx_ConfigBreakDeadTime(&htim15, &sBreakDeadTimeConfig) != HAL_OK)
  {
    Error_Handler();
  }

}

static void MX_USART1_UART_Init(void)
{

  /* USER CODE BEGIN USART1_Init 0 */
  errorcode = 996; // Error_Handler morse_trap code

  /* USER CODE END USART1_Init 0 */

  huart1.Instance = USART1;
  huart1.Init.BaudRate = 115200;
  huart1.Init.WordLength = UART_WORDLENGTH_8B;
  huart1.Init.StopBits = UART_STOPBITS_1;
  huart1.Init.Parity = UART_PARITY_NONE;
  huart1.Init.Mode = UART_MODE_TX_RX;
  huart1.Init.HwFlowCtl = UART_HWCONTROL_NONE;
  huart1.Init.OverSampling = UART_OVERSAMPLING_8;
  huart1.Init.OneBitSampling = UART_ONE_BIT_SAMPLE_DISABLE;
  huart1.AdvancedInit.AdvFeatureInit = UART_ADVFEATURE_NO_INIT;
  if (HAL_UART_Init(&huart1) != HAL_OK)
  {
    Error_Handler();
  }

}

static void MX_DMA_Init(void)
{

  /* DMA controller clock enable */
  __HAL_RCC_DMA2_CLK_ENABLE();
  __HAL_RCC_DMA1_CLK_ENABLE();

  /* DMA interrupt init */
  /* DMA1_Channel1_IRQn interrupt configuration */
  HAL_NVIC_SetPriority(DMA1_Channel1_IRQn, 6, 0);
  HAL_NVIC_EnableIRQ(DMA1_Channel1_IRQn);
  /* DMA1_Channel2_IRQn interrupt configuration */
  HAL_NVIC_SetPriority(DMA1_Channel2_IRQn, 6, 0);
  HAL_NVIC_EnableIRQ(DMA1_Channel2_IRQn);
  /* DMA1_Channel3_IRQn interrupt configuration */
  HAL_NVIC_SetPriority(DMA1_Channel3_IRQn, 6, 0);
  HAL_NVIC_EnableIRQ(DMA1_Channel3_IRQn);
  /* DMA1_Channel4_IRQn interrupt configuration */
  HAL_NVIC_SetPriority(DMA1_Channel4_IRQn, 7, 0);
  HAL_NVIC_EnableIRQ(DMA1_Channel4_IRQn);
  /* DMA1_Channel5_IRQn interrupt configuration */
  HAL_NVIC_SetPriority(DMA1_Channel5_IRQn, 7, 0);
  HAL_NVIC_EnableIRQ(DMA1_Channel5_IRQn);
  /* DMA2_Channel6_IRQn interrupt configuration */
  HAL_NVIC_SetPriority(DMA2_Channel6_IRQn, 6, 0);
  HAL_NVIC_EnableIRQ(DMA2_Channel6_IRQn);
  /* DMA2_Channel7_IRQn interrupt configuration */
  HAL_NVIC_SetPriority(DMA2_Channel7_IRQn, 6, 0);
  HAL_NVIC_EnableIRQ(DMA2_Channel7_IRQn);

}

static void MX_GPIO_Init(void)
{
  GPIO_InitTypeDef GPIO_InitStruct = {0};

  /* GPIO Ports Clock Enable */
  __HAL_RCC_GPIOC_CLK_ENABLE();
  __HAL_RCC_GPIOA_CLK_ENABLE();
  __HAL_RCC_GPIOB_CLK_ENABLE();
  __HAL_RCC_GPIOD_CLK_ENABLE();

  /*Configure GPIO pin Output Level */
  HAL_GPIO_WritePin(GPIOB, LED_RED_Pin|LED_GRN_Pin, GPIO_PIN_SET);

  /*Configure GPIO pin Output Level */
  HAL_GPIO_WritePin(GPIOB, PADxx_Pin|PAD7_Pin|SELECT_Pin, GPIO_PIN_RESET);

  /*Configure GPIO pin Output Level */
  HAL_GPIO_WritePin(GPIOC, DUMP2_Pin|DUMP_NOT_Pin|DUMP_Pin|HEATER_NOT_Pin
                          |HEATER_Pin, GPIO_PIN_RESET);

  /*Configure GPIO pin Output Level */
  HAL_GPIO_WritePin(notCS_GPIO_Port, notCS_Pin, GPIO_PIN_RESET);

  /*Configure GPIO pin Output Level */
  HAL_GPIO_WritePin(EN_GPIO_Port, EN_Pin, GPIO_PIN_RESET);

  /*Configure GPIO pins : LED_RED_Pin LED_GRN_Pin PADxx_Pin PAD7_Pin
                           SELECT_Pin */
  GPIO_InitStruct.Pin = LED_RED_Pin|LED_GRN_Pin|PADxx_Pin|PAD7_Pin
                          |SELECT_Pin;
  GPIO_InitStruct.Mode = GPIO_MODE_OUTPUT_PP;
  GPIO_InitStruct.Pull = GPIO_NOPULL;
  GPIO_InitStruct.Speed = GPIO_SPEED_FREQ_LOW;
  HAL_GPIO_Init(GPIOB, &GPIO_InitStruct);

  /*Configure GPIO pin : DUMP2_Pin */
  GPIO_InitStruct.Pin = DUMP2_Pin;
  GPIO_InitStruct.Mode = GPIO_MODE_OUTPUT_PP;
  GPIO_InitStruct.Pull = GPIO_PULLDOWN;
  GPIO_InitStruct.Speed = GPIO_SPEED_FREQ_LOW;
  HAL_GPIO_Init(DUMP2_GPIO_Port, &GPIO_InitStruct);

  /*Configure GPIO pins : DUMP_NOT_Pin DUMP_Pin HEATER_NOT_Pin HEATER_Pin */
  GPIO_InitStruct.Pin = DUMP_NOT_Pin|DUMP_Pin|HEATER_NOT_Pin|HEATER_Pin;
  GPIO_InitStruct.Mode = GPIO_MODE_OUTPUT_PP;
  GPIO_InitStruct.Pull = GPIO_NOPULL;
  GPIO_InitStruct.Speed = GPIO_SPEED_FREQ_LOW;
  HAL_GPIO_Init(GPIOC, &GPIO_InitStruct);

  /*Configure GPIO pin : notCS_Pin */
  GPIO_InitStruct.Pin = notCS_Pin;
  GPIO_InitStruct.Mode = GPIO_MODE_OUTPUT_PP;
  GPIO_InitStruct.Pull = GPIO_NOPULL;
  GPIO_InitStruct.Speed = GPIO_SPEED_FREQ_LOW;
  HAL_GPIO_Init(notCS_GPIO_Port, &GPIO_InitStruct);

  /*Configure GPIO pin : EN_Pin */
  GPIO_InitStruct.Pin = EN_Pin;
  GPIO_InitStruct.Mode = GPIO_MODE_OUTPUT_PP;
  GPIO_InitStruct.Pull = GPIO_NOPULL;
  GPIO_InitStruct.Speed = GPIO_SPEED_FREQ_LOW;
  HAL_GPIO_Init(EN_GPIO_Port, &GPIO_InitStruct);

}

void StartDefaultTask(void *argument)
{
  /* USER CODE BEGIN 5 */
  int32_t i;
  uint32_t mctr = 0;
  uint32_t noteval = 0; // TaskNotifyWait notification word

/* These #defines select uart output for monitoring. */

  struct SERIALSENDTASKBCB* pbuf1 = getserialbuf(&HUARTMON,128);
  if (pbuf1 == NULL) morse_trap(115);
  struct SERIALSENDTASKBCB* pbuf2 = getserialbuf(&HUARTMON,128);
  if (pbuf2 == NULL) morse_trap(125);

  yprintf(&pbuf1,"\n\n\rPROGRAM STARTS");

  TickType_t tickcnt = xTaskGetTickCount();

#define INCTICKS (1000*10)
TickType_t ticks1 = xTaskGetTickCount()+INCTICKS;
#define HMAX 40 // Number of histogram bins
int8_t hidx = 0;
uint16_t histo[HMAX];
for ( i = 0; i < HMAX; i++)
{
  histo[i] = 0;
}

uint32_t nctr = 0;
uint32_t avectr = 0;
float fmax[16];
float fmin[16];
float fmaxx[16];
float fminx[16];
float fave[16];
float favelong = 0;
uint8_t favesw = 1;
float avelongctr = 0;
for (i = 0; i < 16; i++)
{
  fmax[i] = 0;
  fave[i] = 0;
  fmin[i] = 10;
  fmaxx[i] = 0;
  fminx[i] = 10;
}

  /* Infinite loop */
  for(;;)
  {

    xTaskNotifyWait(0,0xffffffff, &noteval,10000);

#if 0
for (i = 0; i < 1; i++)
{
  fave[i] += fbms[i];
}

avelongctr += 1;
if (favesw != 0)
{
  favesw = 0;
  favelong = fbms[0]*1000;
}
else
{
  favelong = favelong + (fbms[0]*1000 - favelong)/avelongctr;
}

#define AVEDIV 1
avectr += 1;
if (avectr < AVEDIV) continue;
avectr = 0;

for (i = 0; i < 1; i++)
{
  fave[i] = fave[i]/AVEDIV;
  if (fave[i] > fmax[i]) fmax[i] = fave[i];
  if (fave[i] < fmin[i]) fmin[i] = fave[i];
  hidx = ((fave[i]*1000.0 - favelong) +0.5f) + HMAX/2;
  if ( hidx >= HMAX) hidx = HMAX-1;
  if ( hidx < 0) hidx = 0;
  histo[hidx] += 1;
}

nctr += 1;

 //   yprintf(&pbuf2,"\n\r%4d %4d", mctr++,nctr);
    for (i = 0; i < 1; i++)
    {

      if (fmax[i] > fmaxx[i]) fmaxx[i] = fmax[i];
      if (fmin[i] < fminx[i]) fminx[i] = fmin[i];

 //     yprintf(&pbuf1," %7.1f %7.1f %7.1f %7.1f %7.4f",(fmax[i]-fmin[i])*1000,fmaxx[i]*1000,fminx[i]*1000,(fmaxx[i]-fminx[i])*1000,fave[i]);
      fave[i] = 0;
    }

//yprintf(&pbuf2,"\n\r%7.4f %7.4f %7.4f",fave[0],fmax[0],fmin[0]);
//if ( (int)(DTWTIME-dtw1) > INCDTW)
if ( (int)(xTaskGetTickCount() - ticks1) > 0)
{
 //   yprintf(&pbuf2,"\n\r%4d %4d", mctr++,nctr);
    for (i = 0; i < 1; i++)
    {
//      yprintf(&pbuf1," %7.1f",(fmax[i]-fmin[i])*1000);
      fave[i] = 0;
      fmax[i] = -1; fmin[i] = 10;
//      yprintf(&pbuf1," %7.4f",fbms[i]);
    }
    yprintf(&pbuf1,"\n\rX %4d %9.2f =============================",nctr,favelong);

    uint16_t idxlo = 0;
    for (i = 0; i < HMAX; i++)
    {
      if (histo[i] != 0)
      {
        if (i > 0)
          idxlo = i;
        else
          idxlo = 0;
        break;
      }
    }
    uint16_t idxhi = HMAX-1;
    for (i = HMAX-1; i > 0; i--)
    {
      if (histo[i] != 0)
      {
        if (i > 0)
          idxhi = i;
        else
          idxhi = HMAX-1;
        break;
      }
    }
    uint32_t hsum = 0;
    for (i = idxlo; i < idxhi+1; i++)
    {
      if (histo[i] == 0)
        yprintf(&pbuf2,"\n\r.");
      else
      {
        yprintf(&pbuf2,"\n\r%2d %4d",i,histo[i]);
        hsum += histo[i];
        histo[i] = 0;
      }
    }
    yprintf(&pbuf1,"\n\n\r");

  nctr = 0;
//  dtw1 += INCDTW;
  ticks1 += INCTICKS;
}
continue;
#endif
    /* One second loop. */
    vTaskDelayUntil( &tickcnt, 1000);
    tickcnt = xTaskGetTickCount();

    /* Display ADC/DMA readings. */
    struct ADCFUNCTION* padc = &adc1;

    yprintf(&pbuf1,"\n\n\rA %4i",mctr++);
    for (i = 0; i < ADCDIRECTMAX; i++)
    {
      yprintf(&pbuf1,"%8i",padc->abs[i].sumsave);
    }
    yprintf(&pbuf1,"\n\rB     ");
    for (i = 0; i < ADCDIRECTMAX; i++)
    {
      yprintf(&pbuf1,"%8.3f",padc->abs[i].f);
    }
    yprintf(&pbuf1," degC%8.3f", adc1.common.degC);
    yprintf(&pbuf1,"\n\rC     ");
    for (i = 0; i < ADCDIRECTMAX; i++)
    {
      yprintf(&pbuf1,"%8.3f",padc->abs[i].filt);
    }
    extern uint32_t dbt3;
    extern uint32_t dbt5;
    yprintf(&pbuf1," %d %d",dbt3/16, dbt5/16);

    /* BMS readout */
    if (readbmsflag != 0)
    {
      readbmsflag = 0;
      /* Header: device readings and cell numbers */
      yprintf(&pbuf1,"\n\n\rH ");
      for (i = 1; i < 17; i++)
      {
        yprintf(&pbuf1,"%8d",i); // Cell number column heading
      }
        yprintf(&pbuf1,"      T1      T2      T3     TOS\n\rV "); //Additional

     /* BMS readout (cells, thermistors, top-of-stack) */
      for (i = 0; i < ADCBMSMAX; i++)
      {
        yprintf(&pbuf1," %7.4f",fbms[i]);
      }
      /* List iir filtered raw ADC readigns. */
      yprintf(&pbuf1,"\n\rF ");
      for (i = 0; i < ADCBMSMAX; i++)
      {
        yprintf(&pbuf2," %7.4f",bqfunction.cal_filt[i]);
      }
extern uint8_t  dbdischargebit; // Discharge bit (0-15)
yprintf(&pbuf1,"\n\rDISCH: %2d %04X",dbdischargebit+1, pssb->cellbits);
//extern uint32_t dbadcn1;
//yprintf(&pbuf1,"\n\rADC: %d",dbadcn1);

#if 1
     /* List raw ADC counts for calibration purposes. */
      yprintf(&pbuf2,"\n\rRW");
      extern uint8_t dbupdnx;
      for (i = 0; i < 16; i++)
      {
        if (dbupdnx == 0)
          yprintf(&pbuf2," %7i",adcspiall.raw[15-i]);
        else
          yprintf(&pbuf2," %7i",adcspiall.raw[i]);
      }
      for (i = 16; i < ADCBMSMAX; i++)
      {
        yprintf(&pbuf2," %7i",adcspiall.raw[i]);
      }
#endif
      /* List iir filtered raw ADC readigns. */
      yprintf(&pbuf1,"\n\rIIR ");
      for (i = 0; i < ADCBMSMAX; i++)
      {
        yprintf(&pbuf2," %7.1f",bqfunction.raw_filt[i]);
      }
      yprintf(&pbuf1,"\n\rBAK %02X %02X %02X",adcspiall.spirx24.uc[0],adcspiall.spirx24.uc[1],adcspiall.spirx24.uc[2]);
    }

    /* Other misc. */
    extern uint32_t dbadcspit3;
    extern uint32_t dbbms3;
    yprintf(&pbuf1,"\n\rU %8d ",dbadcspit3);
    extern uint32_t dbbmst[21];
    for (i = 0; i < 20; i++)
      yprintf(&pbuf1,"%7d ",dbbmst[i]);
 // yprintf(&pbuf1,"\n\rT %d\n\r",dbbms3);
  }
  /* USER CODE END 5 */
}

void HAL_TIM_PeriodElapsedCallback(TIM_HandleTypeDef *htim)
{
  if (htim->Instance == TIM6) {
    HAL_IncTick();
  }
}

void Error_Handler(void)
{
  __disable_irq();
  while (1)
  {
  }
}

/************************ (C) COPYRIGHT STMicroelectronics *****END OF FILE****/
